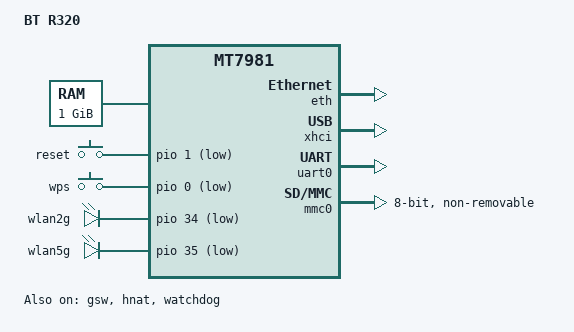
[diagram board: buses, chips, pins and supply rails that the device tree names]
// SPDX-License-Identifier: GPL-2.0-or-later OR MIT
/dts-v1/;

#include <dt-bindings/gpio/gpio.h>
#include <dt-bindings/input/input.h>

#include "mt7981.dtsi"

/ {
	model = "BT R320";
	compatible = "bt,r320", "mediatek,mt7981";

	chosen {
		bootargs = "console=ttyS0,115200n1";
	};

	memory {
		reg = <0x0 0x40000000 0x0 0x40000000>;
	};

	gpio-keys {
		compatible = "gpio-keys";

		reset {
			label = "reset";
			linux,code = <KEY_RESTART>;
			gpios = <&pio 1 GPIO_ACTIVE_LOW>;
		};

		wps {
			label = "wps";
			linux,code = <KEY_WPS_BUTTON>;
			gpios = <&pio 0 GPIO_ACTIVE_LOW>;
		};
	};

	leds {
		compatible = "gpio-leds";

		wlan2g {
			label = "wlan2g";
			gpios = <&pio 34 GPIO_ACTIVE_LOW>;
		};

		wlan5g {
			label = "wlan5g";
			gpios = <&pio 35 GPIO_ACTIVE_LOW>;
		};
	};
};

&eth {
	status = "okay";
};

&gsw {
	status = "okay";

	port@0 {
		status = "okay";
		label = "lan1";
	};

	port@1 {
		status = "okay";
		label = "lan2";
	};

	port@2 {
		status = "okay";
		label = "lan3";
	};

	port@4 {
		status = "okay";
		label = "wan";
	};
};

&hnat {
	mtketh-wan = "wan";
	mtketh-lan = "lan";
	status = "okay";
};

&xhci {
	status = "okay";
};

&uart0 {
	status = "okay";
};

&watchdog {
	status = "okay";
};

&mmc0 {
	bus-width = <8>;
	cap-mmc-highspeed;
	max-frequency = <52000000>;
	non-removable;
	no-sd;
	no-sdio;
	status = "okay";
};
